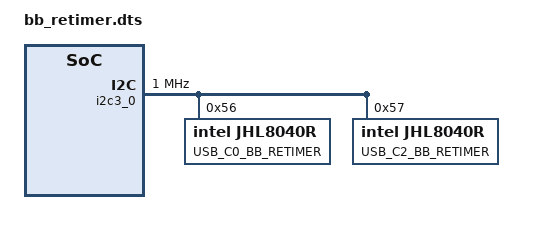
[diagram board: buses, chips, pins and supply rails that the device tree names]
/* Copyright 2022 The Chromium OS Authors. All rights reserved.
 * Use of this source code is governed by a BSD-style license that can be
 * found in the LICENSE file.
 */

&i2c3_0 {
	status = "okay";
	clock-frequency = <I2C_BITRATE_FAST_PLUS>;
	pinctrl-0 = <&i2c3_0_sda_scl_gpd0_d1>;
	pinctrl-names = "default";

	usb_c0_bb_retimer: jhl8040r@56 {
		compatible = "intel,jhl8040r";
		reg = <0x56>;
		label = "USB_C0_BB_RETIMER";
		int-pin = <&usb_c0_rt_int_odl>;
		reset-pin = <&usb_c0_rt_rst_odl>;
	};
	usb_c2_bb_retimer: jhl8040r@57 {
		compatible = "intel,jhl8040r";
		reg = <0x57>;
		label = "USB_C2_BB_RETIMER";
		int-pin = <&usb_c2_rt_int_odl>;
		reset-pin = <&usb_c2_rt_rst_odl>;
	};
};
